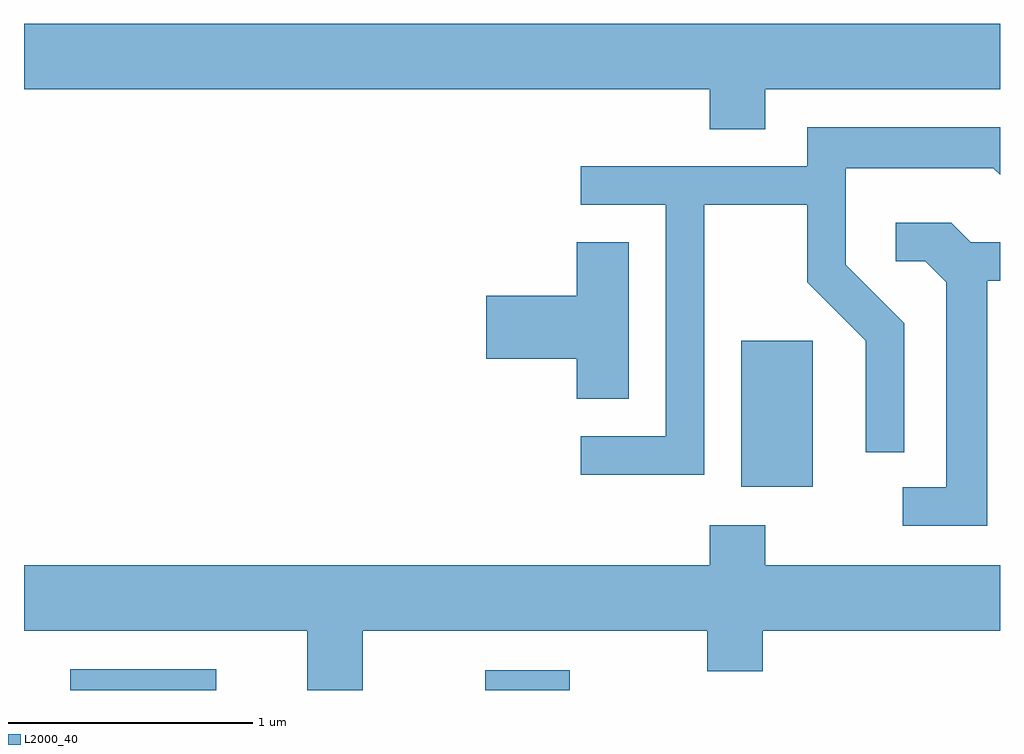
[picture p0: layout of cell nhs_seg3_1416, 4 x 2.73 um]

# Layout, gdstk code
import gdstk
lib = gdstk.Library(unit=1e-6, precision=1e-09)
def R(c, l, rs):  # rectangles x0, y0, x1, y1
    for r in rs: c.add(gdstk.rectangle(r[:2], r[2:], *l))
def P(c, l, *ps):  # polygons
    for p in ps: c.add(gdstk.Polygon(p, *l))
L2000_40 = (2000, 40)

nhs_seg3_1416 = lib.new_cell('nhs_seg3_1416')
R(nhs_seg3_1416, L2000_40, [(225.801,1227.892,226.398,1227.979), (227.501,1227.892,227.848,1227.974), (228.551,1228.726,228.844,1229.324)])
P(nhs_seg3_1416, L2000_40, [(228.649,1230.356),(229.611,1230.356),(229.611,1230.624),(225.611,1230.624),(225.611,1230.356),(228.421,1230.356),(228.421,1230.191),(228.649,1230.191)],
  [(228.399,1229.881),(228.821,1229.881),(228.821,1229.564),(229.061,1229.324),(229.061,1228.868),(229.219,1228.868),(229.219,1229.397),(228.979,1229.637),(228.979,1230.031),(229.584,1230.031),(229.611,1230.004),(229.611,1230.199),(228.821,1230.199),(228.821,1230.039),(227.893,1230.039),(227.893,1229.881),(228.241,1229.881),(228.241,1228.934),(227.893,1228.934),(227.893,1228.776),(228.399,1228.776)],
  [(229.559,1229.571),(229.611,1229.571),(229.611,1229.729),(229.492,1229.729),(229.412,1229.809),(229.183,1229.809),(229.183,1229.651),(229.304,1229.651),(229.391,1229.564),(229.391,1228.724),(229.213,1228.724),(229.213,1228.566),(229.559,1228.566)],
  [(228.089,1229.729),(227.876,1229.729),(227.876,1229.509),(227.506,1229.509),(227.506,1229.251),(227.876,1229.251),(227.876,1229.086),(228.089,1229.086)],
  [(226.999,1228.136),(228.411,1228.136),(228.411,1227.971),(228.639,1227.971),(228.639,1228.136),(229.611,1228.136),(229.611,1228.404),(228.649,1228.404),(228.649,1228.569),(228.421,1228.569),(228.421,1228.404),(225.611,1228.404),(225.611,1228.136),(226.771,1228.136),(226.771,1227.892),(226.999,1227.892)])

lib.write_gds('nhs_seg3_1416.gds')
